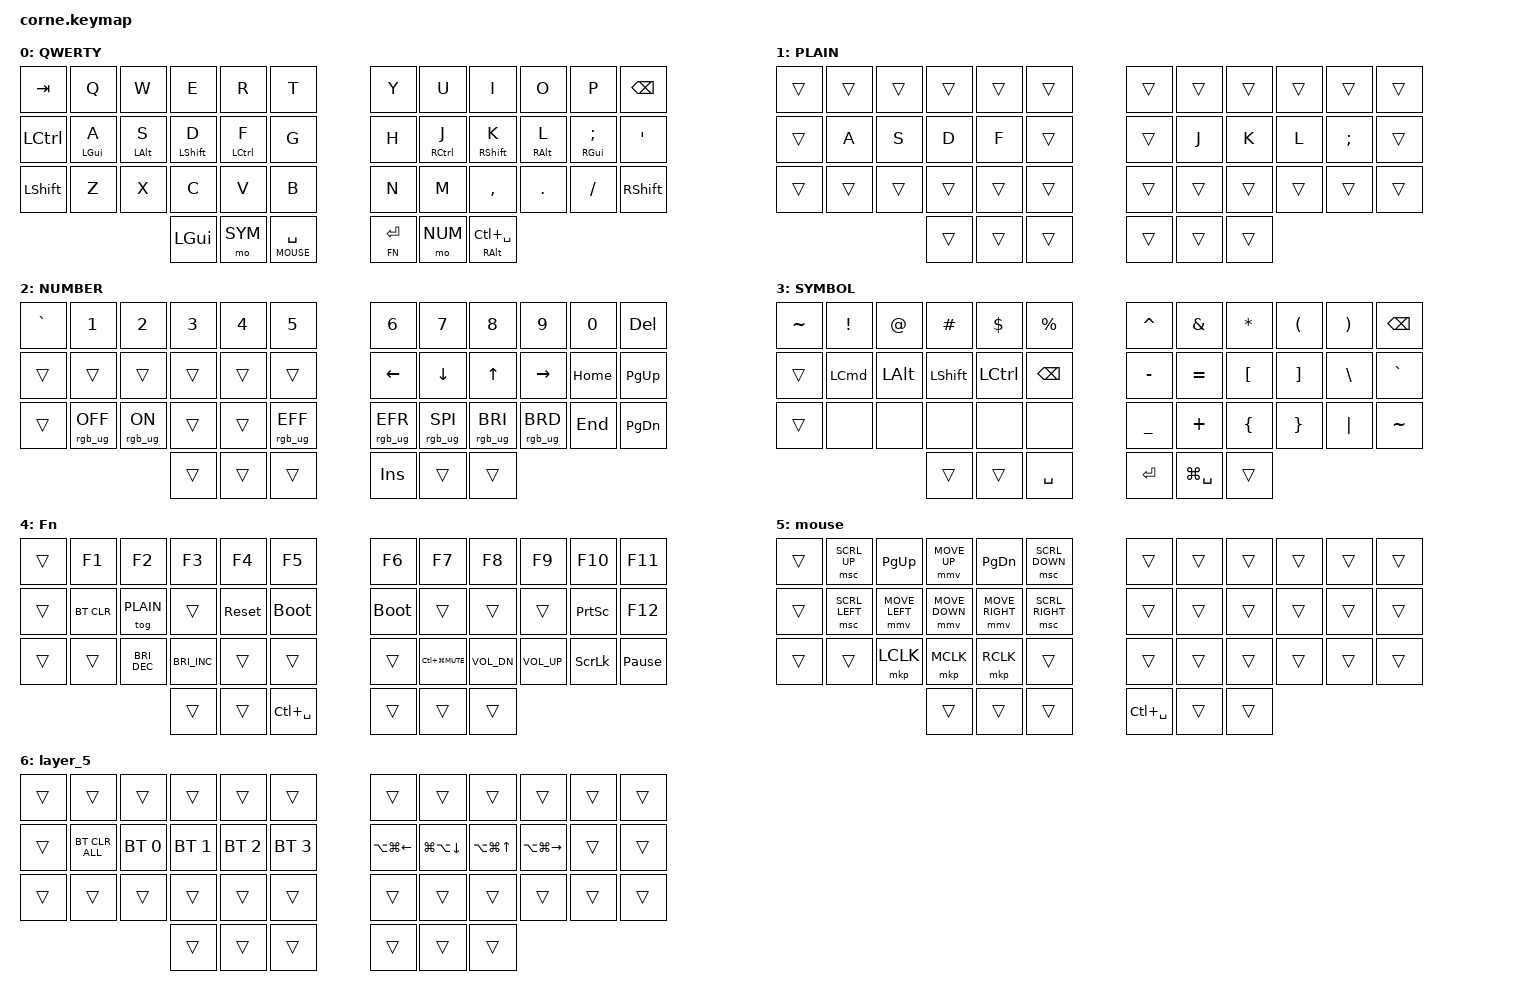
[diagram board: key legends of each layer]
/*
 * Copyright (c) 2020 The ZMK Contributors
 *
 * SPDX-License-Identifier: MIT
 */

#include <behaviors.dtsi>
#include <dt-bindings/zmk/bt.h>
#include <dt-bindings/zmk/keys.h>
#include <dt-bindings/zmk/pointing.h>
#include <dt-bindings/zmk/rgb.h>

#define BASE 0
#define PLAIN 1
#define NUM 2
#define SYM 3
#define FN 4
#define MOUSE 5
#define SYS 6

#define KEYS_L 0 1 2 3 4 5 12 13 14 15 16 17 24 25 26 27 28 29
#define KEYS_R 6 7 8 9 10 11 18 19 20 21 22 23 30 31 32 33 34 35
#define THUMBS 36 37 38 39 40 41

/ {
    chosen {
        zmk,matrix_transform = &default_transform;

        // zmk,matrix_transform = &five_column_transform;
    };
};

/ {
    behaviors {
        td0: td0 {
            compatible = "zmk,behavior-tap-dance";
            label = "TD0";
            #binding-cells = <0>;
            bindings = <&kp LEFT_SHIFT>, <&kp CAPS>;
        };

        esc_dance: esc_dance {
            compatible = "zmk,behavior-tap-dance";
            label = "ESC_DANCE";
            #binding-cells = <0>;
            bindings = <&kp LCTRL>, <&kp ESC>;
        };

        // Home row mods: a key acts as a modifier only when held together with
        // a key on the other hand or a thumb key, and never during fast typing.
        hml: homerow_mods_left {
            compatible = "zmk,behavior-hold-tap";
            #binding-cells = <2>;
            bindings = <&kp>, <&kp>;
            flavor = "balanced";
            tapping-term-ms = <280>;
            quick-tap-ms = <175>;
            require-prior-idle-ms = <150>;
            hold-trigger-key-positions = <KEYS_R THUMBS>;
            hold-trigger-on-release;
        };

        hmr: homerow_mods_right {
            compatible = "zmk,behavior-hold-tap";
            #binding-cells = <2>;
            bindings = <&kp>, <&kp>;
            flavor = "balanced";
            tapping-term-ms = <280>;
            quick-tap-ms = <175>;
            require-prior-idle-ms = <150>;
            hold-trigger-key-positions = <KEYS_L THUMBS>;
            hold-trigger-on-release;
        };
    };

    combos {
        compatible = "zmk,combos";

        esc_combo {
            bindings = <&kp ESC>;
            key-positions = <19 20>;
            layers = <BASE PLAIN>;
        };

        layer_5 {
            bindings = <&mo SYS>;
            key-positions = <37 40>;
        };

        newHangul {
            bindings = <&kp LC(SPACE)>;
            key-positions = <38 39>;
            layers = <BASE PLAIN>;
        };
    };

    keymap {
        compatible = "zmk,keymap";

        default_layer {
            display-name = "QWERTY";

            // --------------------------------------------------------------------------------
            // |  TAB |  Q  |  W  |  E  |  R  |  T  |   |  Y  |  U   |  I  |  O  |  P  | BKSP |
            // | CTRL |  A  |  S  |  D  |  F  |  G  |   |  H  |  J   |  K  |  L  |  ;  |  '   |
            // | SHFT |  Z  |  X  |  C  |  V  |  B  |   |  N  |  M   |  ,  |  .  |  /  | SHFT |
            //                    | GUI | SYM | SPC |   | ENT | NUM  | ALT |
            // Hold A S D F / J K L ; for CMD ALT SHFT CTRL / CTRL SHFT ALT CMD.

            bindings = <
&kp TAB         &kp Q          &kp W         &kp E          &kp R          &kp T              &kp Y           &kp U          &kp I                    &kp O         &kp P          &kp BSPC
&kp LCTRL       &hml LGUI A    &hml LALT S   &hml LSHFT D   &hml LCTRL F   &kp G              &kp H           &hmr RCTRL J   &hmr RSHFT K             &hmr RALT L   &hmr RGUI SEMI &kp SQT
&kp LEFT_SHIFT  &kp Z          &kp X         &kp C          &kp V          &kp B              &kp N           &kp M          &kp COMMA                &kp DOT       &kp FSLH       &kp RIGHT_SHIFT
                                             &kp LGUI       &mo SYM        &lt MOUSE SPACE    &lt FN ENTER    &mo NUM        &mt RIGHT_ALT LC(SPACE)
            >;
        };

        plain_layer {
            display-name = "PLAIN";

            // Base layer without home row mods. Toggle from the Fn layer.

            bindings = <
&trans  &trans  &trans  &trans  &trans  &trans    &trans  &trans  &trans  &trans  &trans    &trans
&trans  &kp A   &kp S   &kp D   &kp F   &trans    &trans  &kp J   &kp K   &kp L   &kp SEMI  &trans
&trans  &trans  &trans  &trans  &trans  &trans    &trans  &trans  &trans  &trans  &trans    &trans
                        &trans  &trans  &trans    &trans  &trans  &trans
            >;
        };

        lower_layer {
            display-name = "NUMBER";

            // -----------------------------------------------------------------------------------------
            // |  TAB |  1  |  2  |  3  |  4  |  5  |   |  6  |  7  |  8  |  9  |  0  | BKSP |
            // | BTCLR| BT1 | BT2 | BT3 | BT4 | BT5 |   | LFT | DWN |  UP | RGT |     |      |
            // | SHFT |     |     |     |     |     |   |     |     |     |     |     |      |
            //                    | GUI |     | SPC |   | ENT |     | ALT |

            bindings = <
&kp GRAVE  &kp N1           &kp N2          &kp N3  &kp N4  &kp N5             &kp N6           &kp N7           &kp N8           &kp N9           &kp N0    &kp DELETE
&trans     &trans           &trans          &trans  &trans  &trans             &kp LEFT_ARROW   &kp DOWN_ARROW   &kp UP_ARROW     &kp RIGHT_ARROW  &kp HOME  &kp PG_UP
&trans     &rgb_ug RGB_OFF  &rgb_ug RGB_ON  &trans  &trans  &rgb_ug RGB_EFF    &rgb_ug RGB_EFR  &rgb_ug RGB_SPI  &rgb_ug RGB_BRI  &rgb_ug RGB_BRD  &kp END   &kp PG_DN
                                            &trans  &trans  &trans             &kp INS          &trans           &trans
            >;
        };

        raise_layer {
            display-name = "SYMBOL";

            // -----------------------------------------------------------------------------------------
            // |  TAB |  !  |  @  |  #  |  $  |  %  |   |  ^  |  &  |  *  |  (  |  )  | BKSP |
            // | CTRL |     |     |     |     |     |   |  -  |  =  |  [  |  ]  |  \  |  `   |
            // | SHFT |     |     |     |     |     |   |  _  |  +  |  {  |  }  | "|" |  ~   |
            //                    | GUI |     | SPC |   | ENT |     | ALT |

            bindings = <
&kp TILDE  &kp EXCL          &kp AT        &kp HASH        &kp DLLR   &kp PRCNT        &kp CARET  &kp AMPS       &kp ASTRK  &kp LPAR  &kp RPAR  &kp BSPC
&trans     &kp LEFT_COMMAND  &kp LEFT_ALT  &kp LEFT_SHIFT  &kp LCTRL  &kp BACKSPACE    &kp MINUS  &kp EQUAL      &kp LBKT   &kp RBKT  &kp BSLH  &kp GRAVE
&trans     &none             &none         &none           &none      &none            &kp UNDER  &kp PLUS       &kp LBRC   &kp RBRC  &kp PIPE  &kp TILDE
                                           &trans          &trans     &kp SPACE        &kp RET    &kp LG(SPACE)  &trans
            >;
        };

        layer_3 {
            display-name = "Fn";
            bindings = <
&trans  &kp F1      &kp F2         &kp F3         &kp F4      &kp F5           &kp F6       &kp F7              &kp F8        &kp F9           &kp F10          &kp F11
&trans  &bt BT_CLR  &tog PLAIN     &trans         &sys_reset  &bootloader      &bootloader  &trans              &trans        &trans           &kp PRINTSCREEN  &kp F12
&trans  &trans      &kp C_BRI_DEC  &kp C_BRI_INC  &trans      &trans           &trans       &kp LC(LG(K_MUTE))  &kp C_VOL_DN  &kp C_VOLUME_UP  &kp SCROLLLOCK   &kp PAUSE_BREAK
                                   &trans         &trans      &kp LC(SPACE)    &trans       &trans              &trans
            >;
        };

        mouse {
            bindings = <
&trans  &msc SCRL_UP    &kp PAGE_UP     &mmv MOVE_UP    &kp PAGE_DOWN    &msc SCRL_DOWN     &trans         &trans  &trans  &trans  &trans  &trans
&trans  &msc SCRL_LEFT  &mmv MOVE_LEFT  &mmv MOVE_DOWN  &mmv MOVE_RIGHT  &msc SCRL_RIGHT    &trans         &trans  &trans  &trans  &trans  &trans
&trans  &trans          &mkp LCLK       &mkp MCLK       &mkp RCLK        &trans             &trans         &trans  &trans  &trans  &trans  &trans
                                        &trans          &trans           &trans             &kp LC(SPACE)  &trans  &trans
            >;
        };

        layer_5 {
            bindings = <
&trans  &trans          &trans        &trans        &trans        &trans          &trans            &trans                  &trans                &trans             &trans  &trans
&trans  &bt BT_CLR_ALL  &bt BT_SEL 0  &bt BT_SEL 1  &bt BT_SEL 2  &bt BT_SEL 3    &kp LA(LG(LEFT))  &kp LG(LA(DOWN_ARROW))  &kp LA(LG(UP_ARROW))  &kp LA(LG(RIGHT))  &trans  &trans
&trans  &trans          &trans        &trans        &trans        &trans          &trans            &trans                  &trans                &trans             &trans  &trans
                                      &trans        &trans        &trans          &trans            &trans                  &trans
            >;
        };
    };
};
